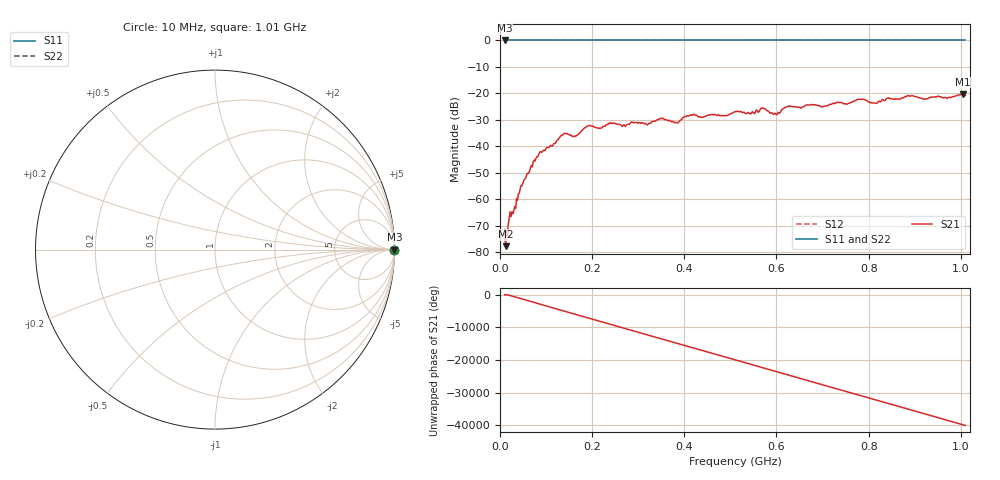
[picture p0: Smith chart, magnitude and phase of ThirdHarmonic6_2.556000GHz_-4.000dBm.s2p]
! 8/17/2025 5:15:18 AM
! C:\ANRITSUVNA\TEMP\TEMP.S2P
! CHANNEL.1
! TR.MEASUREMENT
! RAW.DATA
! RF.CORRECTION.OFF
! AVERAGING.OFF
! IF.BANDWIDTH: 5KHZ
! SWEEPTYPE:  FREQ.SWEEP(Linear)
! Reference Plane Port Info
! PORT:  PORT1  PORT2
! DISTANCE:  0  m  0  m
! TIME:  0  s  0  s
! PHASE.OFFSET:  0  deg.  0  deg.
! LOSS:  0  dB  0  dB
! REF.LOSS:  0  dB  0  dB
! REF.FREQ:  0  Hz  0  Hz
! Power Info
! POWER:  -20  dBm  -20  dBm
! EFF.POWER:  -20  dBm  -20  dBm
! SOURCE.ATTEN:  0  dB  0  dB
! TEST.ATTEN:  0  dB  0  dB
# GHZ S RI R 50.0
! FREQ.GHZ  S11RE  S11IM  S21RE  S21IM  S12RE  S12IM  S22RE  S22IM
!; PortSelection: Port_12
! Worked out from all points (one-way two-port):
!   501 points, 10 MHz to 1.01 GHz, reference 50 ohm
!   highest |S21| = -20.27 dB at 1.004 GHz (marker M1); lowest = -77.8 dB at 12 MHz (marker M2)
!   lowest |S11| = 0.0 dB at 10 MHz (marker M3)
!   |S11| at or under -10 dB: nowhere
!   |S22| runs from 0.0 to 0.0 dB; largest |S21 - S12| = 1.1
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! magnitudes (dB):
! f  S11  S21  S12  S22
! 10 MHz  0.0  -71.5  0.0  0.0
! 12 MHz  0.0  -77.8  0.0  0.0
! 16 MHz  0.0  -73.9  0.0  0.0
! 22 MHz  0.0  -64.8  0.0  0.0
! 48 MHz  0.0  -54.9  0.0  0.0
! 84 MHz  0.0  -43.1  0.0  0.0
! 136 MHz  0.0  -35.8  0.0  0.0
! 162 MHz  0.0  -36.1  0.0  0.0
! 178 MHz  0.0  -34.0  0.0  0.0
! 192 MHz  0.0  -32.3  0.0  0.0
! 322 MHz  0.0  -31.5  0.0  0.0
! 344 MHz  0.0  -29.9  0.0  0.0
! 382 MHz  0.0  -31.0  0.0  0.0
! 418 MHz  0.0  -28.3  0.0  0.0
! 510 MHz  0.0  -27.0  0.0  0.0
! 570 MHz  0.0  -25.5  0.0  0.0
! 598 MHz  0.0  -27.7  0.0  0.0
! 626 MHz  0.0  -24.8  0.0  0.0
! 678 MHz  0.0  -24.3  0.0  0.0
! 844 MHz  0.0  -21.7  0.0  0.0
! 1.004 GHz  0.0  -20.3  0.0  0.0
! 1.01 GHz  0.0  -20.8  0.0  0.0
